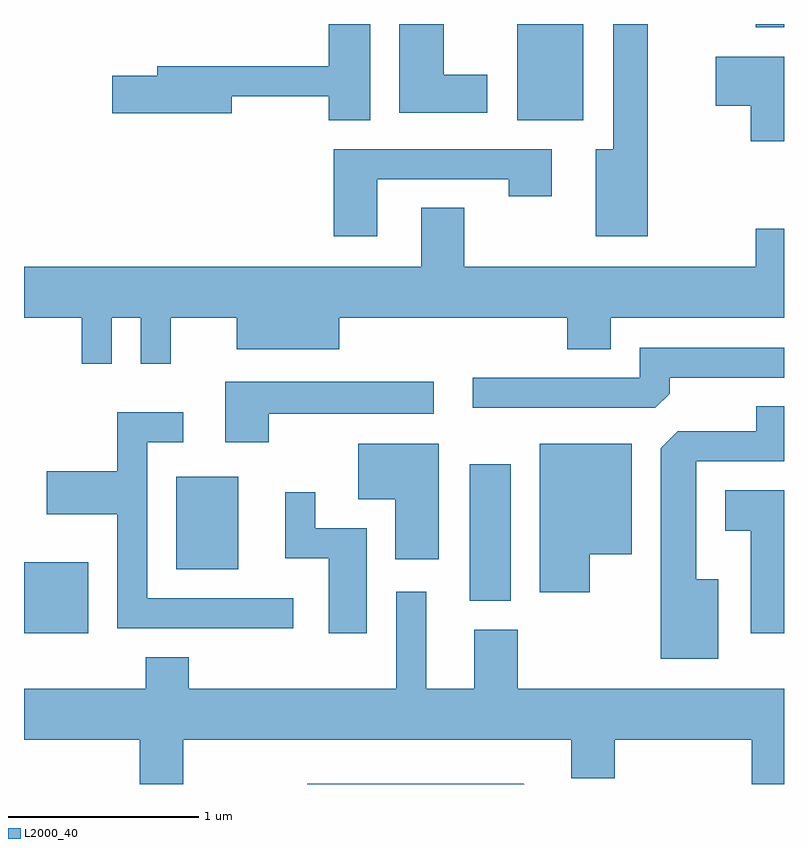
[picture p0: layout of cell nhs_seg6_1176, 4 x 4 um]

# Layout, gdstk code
import gdstk
lib = gdstk.Library(unit=1e-6, precision=1e-09)
def R(c, l, rs):  # rectangles x0, y0, x1, y1
    for r in rs: c.add(gdstk.rectangle(r[:2], r[2:], *l))
def P(c, l, *ps):  # polygons
    for p in ps: c.add(gdstk.Polygon(p, *l))
L2000_40 = (2000, 40)

nhs_seg6_1176 = lib.new_cell('nhs_seg6_1176')
R(nhs_seg6_1176, L2000_40, [(219.611,1634.956,219.949,1635.329), (221.956,1635.126,222.174,1635.844), (220.411,1635.291,220.739,1635.779), (222.206,1637.656,222.554,1638.162), (223.461,1638.146,223.611,1638.162)])
P(nhs_seg6_1176, L2000_40, [(222.894,1638.162),(222.711,1638.162),(222.711,1637.504),(222.621,1637.504),(222.621,1637.046),(222.894,1637.046)],
  [(222.049,1637.894),(221.819,1637.894),(221.819,1638.162),(221.586,1638.162),(221.586,1637.696),(222.049,1637.696)],
  [(221.434,1638.162),(221.216,1638.162),(221.216,1637.939),(220.311,1637.939),(220.311,1637.889),(220.076,1637.889),(220.076,1637.691),(220.704,1637.691),(220.704,1637.781),(221.216,1637.781),(221.216,1637.656),(221.434,1637.656)],
  [(223.611,1637.989),(223.251,1637.989),(223.251,1637.731),(223.436,1637.731),(223.436,1637.546),(223.611,1637.546)],
  [(221.469,1637.346),(222.161,1637.346),(222.161,1637.256),(222.389,1637.256),(222.389,1637.504),(221.241,1637.504),(221.241,1637.046),(221.469,1637.046)],
  [(219.611,1636.616),(219.916,1636.616),(219.916,1636.373),(220.074,1636.373),(220.074,1636.616),(220.226,1636.616),(220.226,1636.373),(220.384,1636.373),(220.384,1636.616),(220.731,1636.616),(220.731,1636.451),(221.269,1636.451),(221.269,1636.616),(222.471,1636.616),(222.471,1636.451),(222.699,1636.451),(222.699,1636.616),(223.611,1636.616),(223.611,1637.084),(223.461,1637.084),(223.461,1636.884),(221.929,1636.884),(221.929,1637.194),(221.701,1637.194),(221.701,1636.884),(219.611,1636.884)],
  [(223.009,1636.217),(223.009,1636.301),(223.611,1636.301),(223.611,1636.459),(222.851,1636.459),(222.851,1636.299),(221.973,1636.299),(221.973,1636.141),(222.934,1636.141)],
  [(220.899,1636.111),(221.768,1636.111),(221.768,1636.279),(220.671,1636.279),(220.671,1635.961),(220.899,1635.961)],
  [(223.264,1635.239),(223.149,1635.239),(223.149,1635.861),(223.611,1635.861),(223.611,1636.149),(223.466,1636.149),(223.466,1636.019),(223.052,1636.019),(222.961,1635.929),(222.961,1634.821),(223.264,1634.821)],
  [(221.028,1635.139),(220.259,1635.139),(220.259,1635.961),(220.448,1635.961),(220.448,1636.119),(220.101,1636.119),(220.101,1635.809),(219.731,1635.809),(219.731,1635.581),(220.101,1635.581),(220.101,1634.981),(221.028,1634.981)],
  [(221.794,1635.954),(221.371,1635.954),(221.371,1635.661),(221.566,1635.661),(221.566,1635.346),(221.794,1635.346)],
  [(222.589,1635.371),(222.809,1635.371),(222.809,1635.954),(222.326,1635.954),(222.326,1635.171),(222.589,1635.171)],
  [(223.611,1635.709),(223.301,1635.709),(223.301,1635.496),(223.436,1635.496),(223.436,1634.956),(223.611,1634.956)],
  [(221.414,1635.509),(221.144,1635.509),(221.144,1635.698),(220.986,1635.698),(220.986,1635.351),(221.216,1635.351),(221.216,1634.956),(221.414,1634.956)],
  [(220.449,1634.396),(222.491,1634.396),(222.491,1634.191),(222.719,1634.191),(222.719,1634.396),(223.441,1634.396),(223.441,1634.162),(223.611,1634.162),(223.611,1634.664),(222.209,1634.664),(222.209,1634.974),(221.981,1634.974),(221.981,1634.664),(221.729,1634.664),(221.729,1635.173),(221.571,1635.173),(221.571,1634.664),(220.479,1634.664),(220.479,1634.829),(220.251,1634.829),(220.251,1634.664),(219.611,1634.664),(219.611,1634.396),(220.221,1634.396),(220.221,1634.162),(220.449,1634.162)],
  [(222.242,1634.164),(221.103,1634.164),(221.103,1634.162),(222.244,1634.162)])

lib.write_gds('nhs_seg6_1176.gds')
